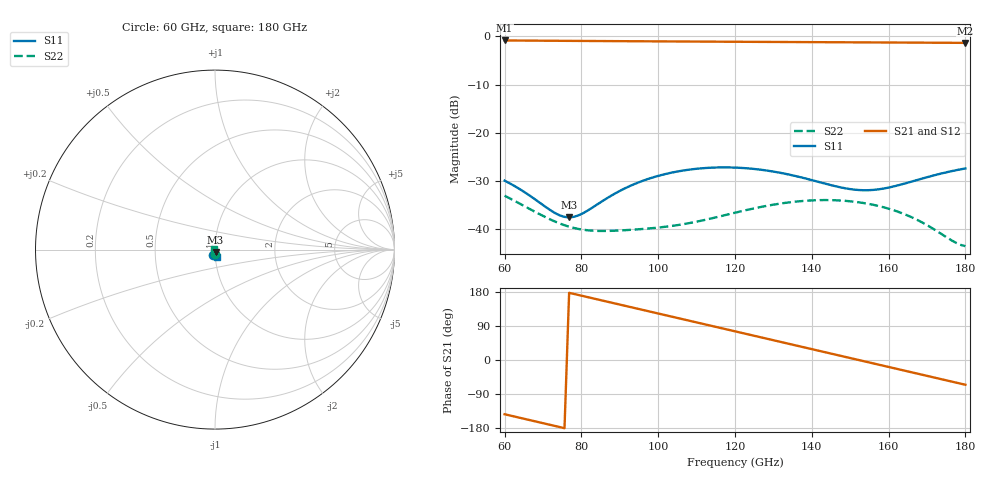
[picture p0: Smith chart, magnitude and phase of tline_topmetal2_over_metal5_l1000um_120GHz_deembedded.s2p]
! Created with skrf 2.0.1 (http://scikit-rf.org).
# GHz S DB R 50.0
!freq dBS11 angS11 dBS21 angS21 dBS12 angS12 dBS22 angS22
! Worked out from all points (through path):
!   101 points, 60 GHz to 180 GHz, reference 50 ohm
!   highest |S21| = -0.84 dB at 60 GHz (marker M1); lowest = -1.3 dB at 180 GHz (marker M2)
!   group delay of S21, straight-line fit = 6.53 ps
!   lowest |S11| = -37.6 dB at 76.8 GHz (marker M3), VSWR 1.03, Z = 50.3 - j1.3 ohm
!   |S11| at or under -10 dB: start of sweep to end of sweep
!   |S22| runs from -43.5 to -33.1 dB; largest |S21 - S12| = 1.5e-13
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60  -29.94 -106.3  -0.84 -143.2  -0.84 -143.2  -33.07 -92.4
68.4  -34.09 -107.2  -0.89 -162.9  -0.89 -162.9  -36.61 -91.3
73.2  -36.69 -94.8  -0.91 -174.2  -0.91 -174.2  -38.46 -85.2
76.8  -37.57 -77.1  -0.93 177.3  -0.93 177.3  -39.49 -78.3
80.4  -36.71 -59.8  -0.94 168.8  -0.94 168.8  -40.12 -70.5
90  -32.07 -46.3  -0.99 146.2  -0.99 146.2  -40.28 -53.6
96  -29.97 -50.5  -1.01 132.1  -1.01 132.1  -39.97 -46.8
100.8  -28.78 -56.1  -1.03 120.8  -1.03 120.8  -39.61 -42.2
105.6  -27.96 -62.6  -1.06 109.5  -1.06 109.5  -39.10 -38.3
110.4  -27.45 -69.4  -1.07 98.3  -1.07 98.3  -38.39 -35.5
115.2  -27.21 -76.3  -1.09 87.0  -1.09 87.0  -37.52 -34.5
120  -27.23 -82.9  -1.11 75.7  -1.11 75.7  -36.60 -35.7
129.6  -28.01 -94.0  -1.15 53.1  -1.15 53.1  -34.98 -44.4
135.6  -28.95 -98.3  -1.17 39.0  -1.17 39.0  -34.31 -53.4
140.4  -29.91 -99.3  -1.19 27.7  -1.19 27.7  -34.03 -62.0
146.4  -31.14 -96.1  -1.21 13.6  -1.21 13.6  -34.02 -74.6
151.2  -31.81 -89.6  -1.23 2.4  -1.23 2.4  -34.33 -85.9
156  -31.86 -81.2  -1.25 -8.9  -1.25 -8.9  -34.96 -98.4
160.8  -31.24 -73.8  -1.27 -20.2  -1.27 -20.2  -35.95 -112.5
169.2  -29.41 -68.4  -1.30 -40.0  -1.30 -40.0  -38.81 -143.7
176.4  -27.97 -70.2  -1.33 -56.9  -1.33 -56.9  -42.33 173.6
180  -27.41 -72.5  -1.34 -65.3  -1.34 -65.3  -43.54 141.4
